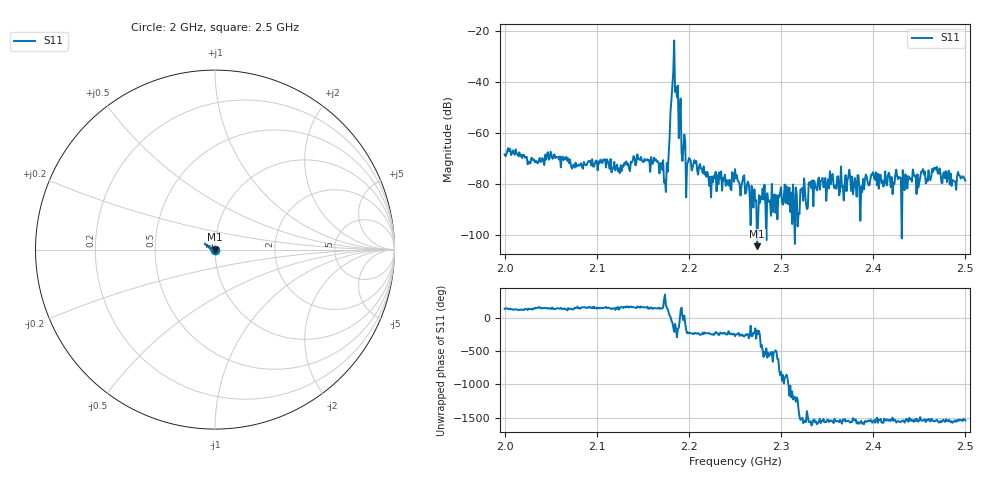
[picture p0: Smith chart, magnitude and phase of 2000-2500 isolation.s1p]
! NanoVNA-App by SYSJOINT et al v1.1.209 (+OD18)
! Date: 2025-09-17 10:32:18
! Start: 2GHz Stop: 2.5GHz Points: 501
! S-Parameter data: F S11
# Hz S RI R 50
!  Frequency  S11_Real  S11_Imag
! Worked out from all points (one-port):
!   501 points, 2 GHz to 2.5 GHz, reference 50 ohm
!   lowest |S11| = -104.2 dB at 2.274 GHz (marker M1), VSWR 1.00, Z = 50 + j9.37e-05 ohm
!   |S11| at or under -10 dB: start of sweep to end of sweep
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2e9  -0.000285 0.000258
2.063e9  -0.000245 0.000251
2.074e9  -0.000136 0.000191
2.107e9  -0.000267 0.000152
2.125e9  -0.000154 5.76e-05
2.146e9  -0.000306 6.01e-05
2.164e9  -0.000257 0.000173
2.175e9  -6.87e-05 -1.67e-05
2.177e9  -0.000124 0.000126
2.182e9  0.00356 -0.00775
2.186e9  -0.00774 -0.00221
2.187e9  0.00172 0.00477
2.188e9  -0.00827 -0.00245
2.189e9  -0.000671 -0.000439
2.191e9  -0.00193 0.00438
2.199e9  -0.000218 0.000155
2.207e9  -0.000181 0.000188
2.224e9  -2.42e-05 5e-05
2.25e9  9.5e-06 0.000198
2.274e9  -6.06e-06 9.38e-07
2.313e9  -8.43e-05 -5.19e-05
2.375e9  -0.0001 -9.96e-05
2.438e9  -7.85e-05 -0.000122
2.449e9  -4.71e-05 -7.19e-05
2.454e9  -5.53e-05 -0.000191
2.459e9  -2.58e-05 -0.000111
2.467e9  -9.85e-05 -0.000186
2.5e9  -2.75e-05 -0.000115
